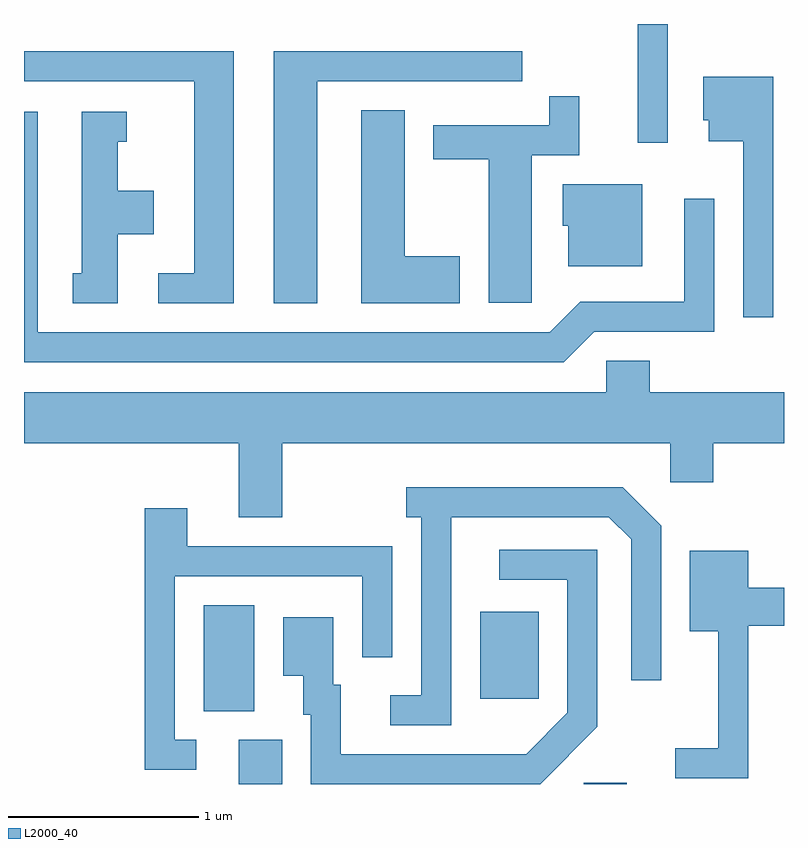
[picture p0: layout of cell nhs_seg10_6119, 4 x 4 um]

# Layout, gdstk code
import gdstk
lib = gdstk.Library(unit=1e-6, precision=1e-09)
def R(c, l, rs):  # rectangles x0, y0, x1, y1
    for r in rs: c.add(gdstk.rectangle(r[:2], r[2:], *l))
def P(c, l, *ps):  # polygons
    for p in ps: c.add(gdstk.Polygon(p, *l))
L2000_40 = (2000, 40)

nhs_seg10_6119 = lib.new_cell('nhs_seg10_6119')
R(nhs_seg10_6119, L2000_40, [(366.741,2156.522,366.969,2156.754), (368.556,2156.522,368.784,2156.529), (366.556,2156.906,366.824,2157.464), (368.011,2156.971,368.319,2157.429), (368.841,2159.898,368.999,2160.522)])
P(nhs_seg10_6119, L2000_40, [(367.154,2160.221),(368.233,2160.221),(368.233,2160.379),(366.926,2160.379),(366.926,2159.051),(367.154,2159.051)],
  [(366.714,2160.379),(365.611,2160.379),(365.611,2160.221),(366.506,2160.221),(366.506,2159.209),(366.318,2159.209),(366.318,2159.051),(366.714,2159.051)],
  [(369.554,2160.244),(369.186,2160.244),(369.186,2160.016),(369.216,2160.016),(369.216,2159.906),(369.396,2159.906),(369.396,2158.978),(369.554,2158.978)],
  [(368.284,2159.831),(368.534,2159.831),(368.534,2160.143),(368.376,2160.143),(368.376,2159.989),(367.766,2159.989),(367.766,2159.811),(368.056,2159.811),(368.056,2159.056),(368.284,2159.056)],
  [(367.904,2159.299),(367.614,2159.299),(367.614,2160.069),(367.386,2160.069),(367.386,2159.051),(367.904,2159.051)],
  [(368.612,2158.901),(369.244,2158.901),(369.244,2159.603),(369.086,2159.603),(369.086,2159.059),(368.539,2159.059),(368.379,2158.899),(365.684,2158.899),(365.684,2160.059),(365.611,2160.059),(365.611,2158.741),(368.452,2158.741)],
  [(366.104,2159.416),(366.294,2159.416),(366.294,2159.644),(366.104,2159.644),(366.104,2159.901),(366.153,2159.901),(366.153,2160.059),(365.916,2160.059),(365.916,2159.209),(365.868,2159.209),(365.868,2159.051),(366.104,2159.051)],
  [(368.864,2159.679),(368.446,2159.679),(368.446,2159.461),(368.476,2159.461),(368.476,2159.246),(368.864,2159.246)],
  [(366.969,2158.316),(369.011,2158.316),(369.011,2158.111),(369.239,2158.111),(369.239,2158.316),(369.611,2158.316),(369.611,2158.584),(368.904,2158.584),(368.904,2158.749),(368.676,2158.749),(368.676,2158.584),(365.611,2158.584),(365.611,2158.316),(366.741,2158.316),(366.741,2157.926),(366.969,2157.926)],
  [(367.859,2157.926),(368.689,2157.926),(368.806,2157.809),(368.806,2157.068),(368.964,2157.068),(368.964,2157.882),(368.762,2158.084),(367.623,2158.084),(367.623,2157.926),(367.701,2157.926),(367.701,2156.989),(367.538,2156.989),(367.538,2156.831),(367.859,2156.831)],
  [(366.518,2156.754),(366.404,2156.754),(366.404,2157.616),(367.391,2157.616),(367.391,2157.188),(367.549,2157.188),(367.549,2157.774),(366.469,2157.774),(366.469,2157.974),(366.246,2157.974),(366.246,2156.596),(366.518,2156.596)],
  [(368.629,2156.824),(368.629,2157.754),(368.113,2157.754),(368.113,2157.596),(368.471,2157.596),(368.471,2156.897),(368.254,2156.679),(367.279,2156.679),(367.279,2157.044),(367.239,2157.044),(367.239,2157.399),(366.976,2157.399),(366.976,2157.091),(367.081,2157.091),(367.081,2156.886),(367.121,2156.886),(367.121,2156.522),(368.328,2156.522)],
  [(369.424,2157.356),(369.611,2157.356),(369.611,2157.554),(369.424,2157.554),(369.424,2157.749),(369.116,2157.749),(369.116,2157.326),(369.266,2157.326),(369.266,2156.709),(369.038,2156.709),(369.038,2156.551),(369.424,2156.551)])

lib.write_gds('nhs_seg10_6119.gds')
